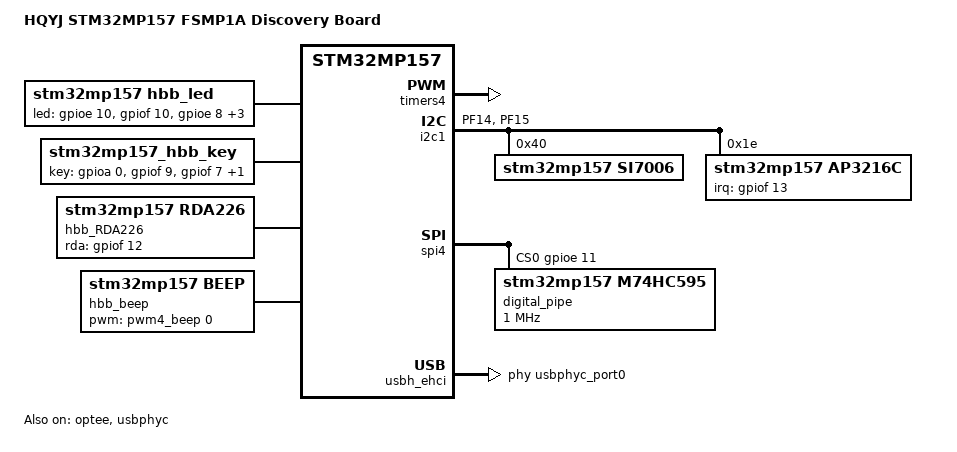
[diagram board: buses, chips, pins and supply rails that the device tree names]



/dts-v1/;
#include "stm32mp157.dtsi"
#include "stm32mp15xa.dtsi"
#include "stm32mp15-pinctrl.dtsi"
#include "stm32mp15xxaa-pinctrl.dtsi"
#include "stm32mp157-hbb.dtsi"
/ { 
	model = "HQYJ STM32MP157 FSMP1A Discovery Board";
	compatible = "st,stm32mp157a-dk1", "st,stm32mp157";


    hbb_led{
        compatible = "stm32mp157 hbb_led";
        led-gpios = <&gpioe 10 GPIO_ACTIVE_HIGH>,
                    <&gpiof 10 GPIO_ACTIVE_HIGH>,
                    <&gpioe 8 GPIO_ACTIVE_HIGH>,
                    <&gpioz 5 GPIO_ACTIVE_HIGH>,
                    <&gpioz 6 GPIO_ACTIVE_HIGH>,
                    <&gpioz 7 GPIO_ACTIVE_HIGH>;
        default-state = "okey";
    };

    hbb_key{
        compatible = "stm32mp157_hbb_key";
        key-gpios = <&gpioa 0 GPIO_ACTIVE_HIGH>,
                    <&gpiof 9 GPIO_ACTIVE_HIGH>,
                    <&gpiof 7 GPIO_ACTIVE_HIGH>,
                    <&gpiof 8 GPIO_ACTIVE_HIGH>;
        default-state = "okey";
    };


    hbb_RDA226{
        compatible = "stm32mp157,RDA226";
        rda-gpios = <&gpiof 12 GPIO_ACTIVE_HIGH>;
        default-state = "okey";
    
    };

    hbb_beep{
        compatible = "stm32mp157,beep";
        status = "okay";
        pwms=<&pwm4_beep 0 1000000>;
        pwm-names = "beep";
    };

	aliases {
		serial0 = &uart4;
        serial5 = &usart3;
	};

	chosen {
		stdout-path = "serial0:115200n8";
	};

	reserved-memory {
		gpu_reserved: gpu@da000000 {
		      reg = <0xda000000 0x4000000>;
		      no-map;
	      };

	optee_memory: optee@0xde000000 { 
		      reg = <0xde000000 0x02000000>;
		      no-map;
	      };
	};

    usb_phy_tuning: usb-phy-tuning {
		st,hs-dc-level = <2>;
		st,fs-rftime-tuning;
	    st,hs-rftime-reduction;
		st,hs-current-trim = <15>;
	    st,hs-impedance-trim = <1>;
		st,squelch-level = <3>;
		st,hs-rx-offset = <2>;
		st,no-lsfs-sc;
		};
};



&optee {
	status = "okay";
};



&pinctrl {

    pwm4_pins_c:pwm4-0{
        pins{
            pinmux = <STM32_PINMUX('B',6,AF2)>;
            bias-pull-down;
            driver-push-pull;
            slew-rate = <0>;
        };
    };


    pwm4_sleep_pins_c:pwm4-sleep-0{
        pins {
            pinmux = <STM32_PINMUX('B',6,ANALOG)>; 
            };
        };


    i2c1_pins_c:i2c-4 {
        pins {
            pinmux = <STM32_PINMUX('F', 14,AF5)>,
                    <STM32_PINMUX('F',15,AF5)>;
        bias-disable;       //pull失能，与bias-pull-down/up冲突
        drive-open-drain;   //开漏输出
        slew-rate = <0>;    //输入
        };                      
     };



    i2c1_sleep_pins_c:12c-sleep-5{
        pins {
            pinmux = <STM32_PINMUX('F', 14,ANALOG)>,
                    <STM32_PINMUX('F',15,ANALOG)>;
        };                
    };
};

&timers4 {
    status = "okay";
    pwm4_beep: pwm_beep {
        compatible = "st,stm32-pwm";
        pinctrl-0 = <&pwm4_pins_c>;
        pinctrl-names = "default";
        status = "okay";
        #pwm-cells = <2>;
    };
};

&i2c1{
    pinctrl-names = "default","sleep";
    pinctrl-0 = <&i2c1_pins_c>;
    pinctrl-1 = <&i2c1_sleep_pins_c>;
    status = "okay";
    si7006:i2c1_7006@40{
        compatible = "stm32mp157,si7006";
        reg = <0x40>;
    };
    ap3216c:i2c1_ap3216c@1e{
        compatible = "stm32mp157,ap3216c";
        reg = <0x1e>;
        irq-gpios = <&gpiof 13 GPIO_ACTIVE_HIGH>;
    };
};


&spi4{
    status = "okay";
    pinctrl-names = "default", "sleep";
    pinctrl-0 = <&spi4_pins_a>;
    pinctrl-1 = <&spi4_sleep_pins_a>;
    cs-gpios = <&gpioe 11 0>;
    digital_pipe:m74hc595@0{
        compatible = "stm32mp157,m74hc595";
        reg = <0>;
        spi-max-frequency = <1000000>;        // spi 最大速率配置
    };

};


&usbphyc { 
    status = "okay"; 
};

&usbphyc_port0 { 
    phy-supply = <&v3v3>;
    st,phy-tuning = <&usb_phy_tuning>;
};

&usbh_ehci {
    phys = <&usbphyc_port0>;
    status = "okay"; 
};

